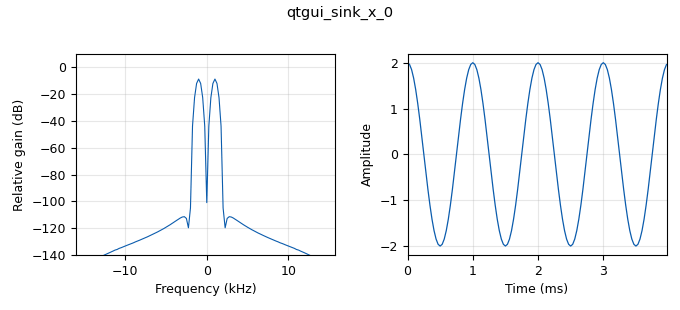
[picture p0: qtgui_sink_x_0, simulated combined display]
options:
  parameters:
    author: mineev
    generate_options: qt_gui
    id: rulesson1
    output_language: python
    title: Tutorial1
  states: {}

blocks:
- name: samp_rate
  id: variable
  parameters:
    value: '32000'
  states: {}
- name: analog_sig_source_x_0
  id: analog_sig_source_x
  parameters:
    amp: '2'
    freq: '1000'
    offset: '0'
    phase: '0'
    samp_rate: samp_rate
    type: float
    waveform: analog.GR_COS_WAVE
  states: {}
- name: audio_sink_0
  id: audio_sink
  parameters:
    ok_to_block: 'False'
    samp_rate: '44100'
  states: {}
- name: blocks_throttle2_0
  id: blocks_throttle2
  parameters:
    limit: items
    samples_per_second: samp_rate
    type: float
  states: {}
- name: qtgui_sink_x_0
  id: qtgui_sink_x
  parameters:
    bw: samp_rate
    fc: '0'
    fftsize: '128'
    type: float
  states: {}

connections:
- [analog_sig_source_x_0, '0', blocks_throttle2_0, '0']
- [blocks_throttle2_0, '0', audio_sink_0, '0']
- [blocks_throttle2_0, '0', qtgui_sink_x_0, '0']

metadata:
  file_format: 1
  grc_version: 3.10.7.0
